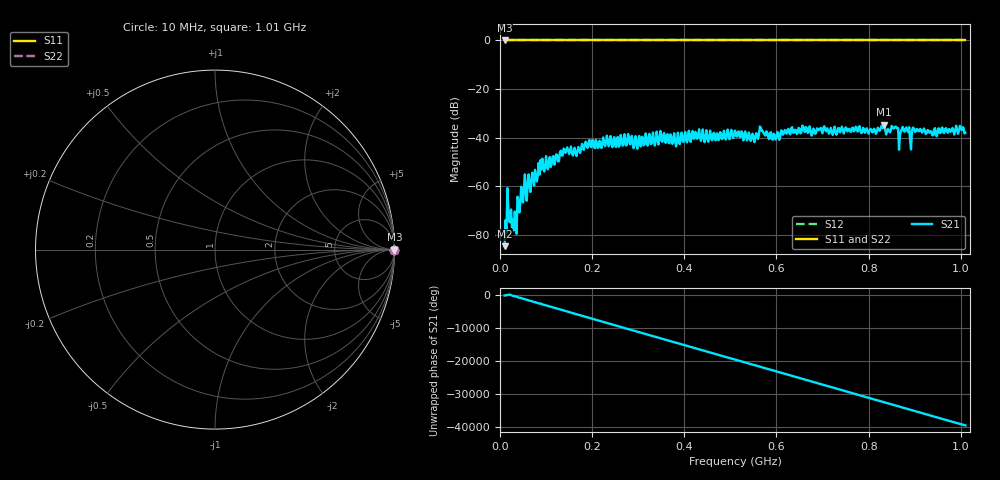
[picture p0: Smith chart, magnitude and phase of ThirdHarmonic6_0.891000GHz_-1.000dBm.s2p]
! 8/16/2025 5:17:26 AM
! C:\ANRITSUVNA\TEMP\TEMP.S2P
! CHANNEL.1
! TR.MEASUREMENT
! RAW.DATA
! RF.CORRECTION.OFF
! AVERAGING.OFF
! IF.BANDWIDTH: 5KHZ
! SWEEPTYPE:  FREQ.SWEEP(Linear)
! Reference Plane Port Info
! PORT:  PORT1  PORT2
! DISTANCE:  0  m  0  m
! TIME:  0  s  0  s
! PHASE.OFFSET:  0  deg.  0  deg.
! LOSS:  0  dB  0  dB
! REF.LOSS:  0  dB  0  dB
! REF.FREQ:  0  Hz  0  Hz
! Power Info
! POWER:  -20  dBm  -20  dBm
! EFF.POWER:  -20  dBm  -20  dBm
! SOURCE.ATTEN:  0  dB  0  dB
! TEST.ATTEN:  0  dB  0  dB
# GHZ S RI R 50.0
! FREQ.GHZ  S11RE  S11IM  S21RE  S21IM  S12RE  S12IM  S22RE  S22IM
!; PortSelection: Port_12
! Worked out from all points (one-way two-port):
!   501 points, 10 MHz to 1.01 GHz, reference 50 ohm
!   highest |S21| = -34.68 dB at 834 MHz (marker M1); lowest = -84.7 dB at 10 MHz (marker M2)
!   lowest |S11| = 0.0 dB at 10 MHz (marker M3)
!   |S11| at or under -10 dB: nowhere
!   |S22| runs from 0.0 to 0.0 dB; largest |S21 - S12| = 1
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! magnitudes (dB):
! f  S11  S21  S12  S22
! 10 MHz  0.0  -84.7  0.0  0.0
! 14 MHz  0.0  -79.3  0.0  0.0
! 20 MHz  0.0  -74.6  0.0  0.0
! 24 MHz  0.0  -69.6  0.0  0.0
! 32 MHz  0.0  -70.5  0.0  0.0
! 50 MHz  0.0  -66.7  0.0  0.0
! 78 MHz  0.0  -56.2  0.0  0.0
! 88 MHz  0.0  -49.3  0.0  0.0
! 142 MHz  0.0  -46.3  0.0  0.0
! 178 MHz  0.0  -42.6  0.0  0.0
! 344 MHz  0.0  -42.9  0.0  0.0
! 386 MHz  0.0  -38.0  0.0  0.0
! 510 MHz  0.0  -37.1  0.0  0.0
! 678 MHz  0.0  -38.6  0.0  0.0
! 834 MHz  0.0  -34.7  0.0  0.0
! 844 MHz  0.0  -37.0  0.0  0.0
! 860 MHz  0.0  -35.6  0.0  0.0
! 868 MHz  0.0  -38.8  0.0  0.0
! 884 MHz  0.0  -37.2  0.0  0.0
! 890 MHz  0.0  -40.9  0.0  0.0
! 900 MHz  0.0  -37.6  0.0  0.0
! 1.01 GHz  0.0  -38.0  0.0  0.0
